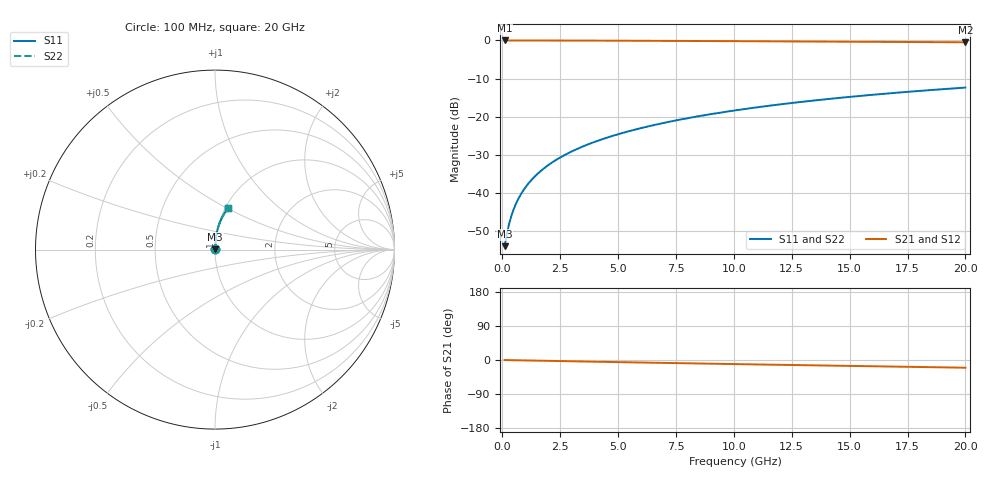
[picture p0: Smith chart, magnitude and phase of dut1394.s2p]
! Touchstone file exported from HFSS 2024.1.0
!  File:  C:/UserFiles/LocalFiles/RDL_TSV_Batchsim/temp_RDL_top_1394_1780367847.aedt
!  Generated:  10:39:58 AM Jun  2, 2026
!  Design:  RDL_top
!  Project:  temp_RDL_top_1394_1780367847
!  Setup:  Setup1
!  Solution:  Sweep
! Variables:
!  dtsv = 10.80580581um
!  hbump = 3um
!  htsv = 64.09um
!  ldown = 100um
!  lrdl = 242.59um
!  p = 40
!  p1 = 48.08um
!  rhole = 1um
!  t = 450um
!  tdown = 3.915915916um
!  trdl = 3.68um
!  wdown = 15.38538539um
!  wrdl = 16.56um
# GHz S MA R 50.000000
! Terminal data exported
! Port[1] = Box2_T1
! Port[2] = Box2_T2
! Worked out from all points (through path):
!   200 points, 100 MHz to 20 GHz, reference 50 ohm
!   highest |S21| = -0.01 dB at 100 MHz (marker M1); lowest = -0.5 dB at 20 GHz (marker M2)
!   group delay of S21, straight-line fit = 2.81 ps
!   lowest |S11| = -54.0 dB at 100 MHz (marker M3), VSWR 1.00, Z = 50.2 + j0.123 ohm
!   |S11| at or under -10 dB: start of sweep to end of sweep
!   |S22| runs from -54.0 to -12.4 dB; largest |S21 - S12| = 2e-15
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0.1  0.002 37.8  0.9984 -0.1  0.9984 -0.1  0.002 37.8
! Gamma 0 0 0 0
! Port Impedance 50 0 50 0
0.2  0.002924 56.2  0.9984 -0.2  0.9984 -0.2  0.002924 56.2
0.3  0.003983 65.1  0.9983 -0.4  0.9983 -0.4  0.003983 65.1
0.4  0.005079 70.1  0.9982 -0.5  0.9982 -0.5  0.005079 70.1
0.5  0.006188 73.4  0.9982 -0.6  0.9982 -0.6  0.006188 73.4
0.6  0.007304 75.7  0.9981 -0.7  0.9981 -0.7  0.007304 75.7
0.8  0.009554 78.7  0.998 -0.9  0.998 -0.9  0.009554 78.7
1.1  0.01296 81.4  0.9978 -1.3  0.9978 -1.3  0.01296 81.4
1.5  0.01754 83.3  0.9975 -1.7  0.9975 -1.7  0.01754 83.3
1.8  0.021 84.1  0.9972 -2.1  0.9972 -2.1  0.021 84.1
2.1  0.02448 84.7  0.9968 -2.4  0.9968 -2.4  0.02448 84.7
2.7  0.03147 85.4  0.996 -3.1  0.996 -3.1  0.03147 85.4
3.5  0.04087 85.7  0.9946 -4.0  0.9946 -4.0  0.04087 85.7
4.2  0.04918 85.7  0.9933 -4.7  0.9933 -4.7  0.04918 85.7
5  0.05876 85.6  0.9915 -5.6  0.9915 -5.6  0.05876 85.6
5.9  0.06965 85.2  0.9893 -6.6  0.9893 -6.6  0.06965 85.2
6.8  0.08063 84.7  0.9869 -7.5  0.9869 -7.5  0.08063 84.7
8.3  0.09909 83.7  0.9827 -9.0  0.9827 -9.0  0.09909 83.7
10.1  0.1214 82.3  0.9774 -10.9  0.9774 -10.9  0.1214 82.3
13.4  0.1621 79.2  0.9671 -14.1  0.9671 -14.1  0.1621 79.2
16.7  0.202 76.0  0.9562 -17.3  0.9562 -17.3  0.202 76.0
20  0.2406 72.8  0.9446 -20.3  0.9446 -20.3  0.2406 72.8
